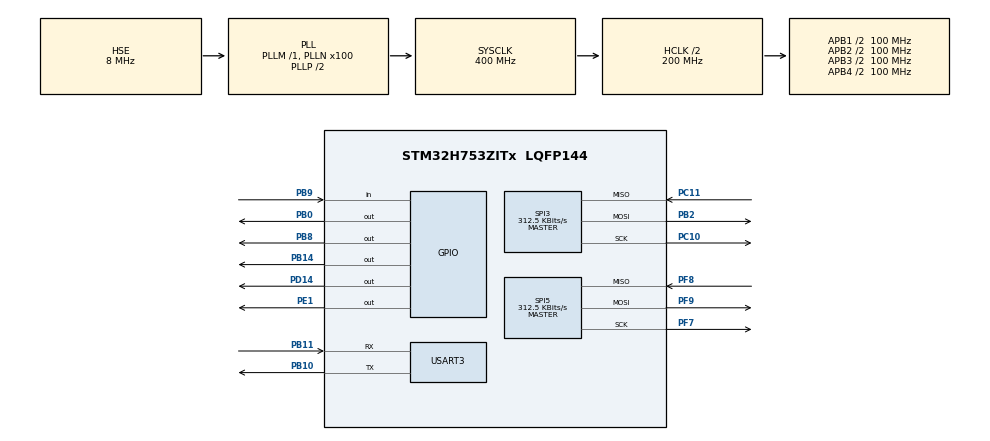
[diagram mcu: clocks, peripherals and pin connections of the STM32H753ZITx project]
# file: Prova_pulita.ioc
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CORTEX_M7.default_mode_Activation=1
FREERTOS.Tasks01=defaultTask,8,128,StartDefaultTask,Default,NULL,Dynamic,NULL,NULL
FREERTOS.configUSE_NEWLIB_REENTRANT=1
Mcu.Family=STM32H7
Mcu.Name=STM32H753ZITx
Mcu.Package=LQFP144
NVIC.FPU_IRQn=true\:5\:0\:false\:false\:true\:true\:true\:false\:true
NVIC.PriorityGroup=NVIC_PRIORITYGROUP_4
NVIC.SPI3_IRQn=true\:5\:0\:false\:false\:true\:true\:true\:true\:true
NVIC.SPI5_IRQn=true\:5\:0\:false\:false\:true\:true\:true\:true\:true
NVIC.TIM1_UP_IRQn=true\:5\:0\:true\:false\:true\:false\:false\:true\:true
NVIC.TimeBase=TIM1_UP_IRQn
NVIC.TimeBaseIP=TIM1
NVIC.USART3_IRQn=true\:5\:0\:false\:false\:true\:true\:true\:true\:true
PB0.Signal=GPIO_Output
PB10.Mode=Asynchronous
PB10.Signal=USART3_TX
PB11.Mode=Asynchronous
PB11.Signal=USART3_RX
PB14.Signal=GPIO_Output
PB2.Mode=Full_Duplex_Master
PB2.Signal=SPI3_MOSI
PB8.PinState=GPIO_PIN_SET
PB8.Signal=GPIO_Output
PB9.Signal=GPIO_Input
PC10.Mode=Full_Duplex_Master
PC10.Signal=SPI3_SCK
PC11.Mode=Full_Duplex_Master
PC11.Signal=SPI3_MISO
PD14.PinState=GPIO_PIN_SET
PD14.Signal=GPIO_Output
PE1.Signal=GPIO_Output
PF7.Mode=Full_Duplex_Master
PF7.Signal=SPI5_SCK
PF8.Mode=Full_Duplex_Master
PF8.Signal=SPI5_MISO
PF9.Mode=Full_Duplex_Master
PF9.Signal=SPI5_MOSI
PH0-OSC_IN\ (PH0).Mode=HSE-External-Oscillator
PH0-OSC_IN\ (PH0).Signal=RCC_OSC_IN
PH1-OSC_OUT\ (PH1).Mode=HSE-External-Oscillator
PH1-OSC_OUT\ (PH1).Signal=RCC_OSC_OUT
ProjectManager.HeapSize=0x200
ProjectManager.StackSize=0x400
ProjectManager.TargetToolchain=STM32CubeIDE
RCC.ADCFreq_Value=100000000
RCC.APB1Freq_Value=100000000
RCC.APB2Freq_Value=100000000
RCC.APB3Freq_Value=100000000
RCC.APB4Freq_Value=100000000
RCC.CortexFreq_Value=400000000
RCC.D1PPRE=RCC_APB3_DIV2
RCC.D2PPRE1=RCC_APB1_DIV2
RCC.D2PPRE2=RCC_APB2_DIV2
RCC.D3PPRE=RCC_APB4_DIV2
RCC.DIVM1=1
RCC.DIVM2=1
RCC.DIVM3=1
RCC.DIVN1=100
RCC.DIVN2=25
RCC.DIVN3=18
RCC.DIVP3=15
RCC.DIVQ1=4
RCC.DIVQ2=20
RCC.DIVQ3=15
RCC.HCLKFreq_Value=200000000
RCC.HPRE=RCC_HCLK_DIV2
RCC.HSE_VALUE=8000000
RCC.PLL2FRACN=0
RCC.PLL3FRACN=6144
RCC.PLLFRACN=0
RCC.PLLSourceVirtual=RCC_PLLSOURCE_HSE
RCC.SPI123CLockSelection=RCC_SPI123CLKSOURCE_PLL3
RCC.SYSCLKFreq_VALUE=400000000
RCC.SYSCLKSource=RCC_SYSCLKSOURCE_PLLCLK
RCC.Spi45ClockSelection=RCC_SPI45CLKSOURCE_PLL2
RCC.USBFreq_Value=200000000
SPI3.BaudRatePrescaler=SPI_BAUDRATEPRESCALER_32
SPI3.CLKPolarity=SPI_POLARITY_LOW
SPI3.CalculateBaudRate=312.5 KBits/s
SPI3.DataSize=SPI_DATASIZE_8BIT
SPI3.Direction=SPI_DIRECTION_2LINES
SPI3.Mode=SPI_MODE_MASTER
SPI3.VirtualType=VM_MASTER
SPI5.BaudRatePrescaler=SPI_BAUDRATEPRESCALER_32
SPI5.CalculateBaudRate=312.5 KBits/s
SPI5.DataSize=SPI_DATASIZE_8BIT
SPI5.Direction=SPI_DIRECTION_2LINES
SPI5.Mode=SPI_MODE_MASTER
SPI5.VirtualType=VM_MASTER
USART3.VirtualMode-Asynchronous=VM_ASYNC
VP_FREERTOS_VS_CMSIS_V2.Mode=CMSIS_V2
VP_MEMORYMAP_VS_MEMORYMAP.Mode=CurAppReg
VP_SYS_VS_tim1.Mode=TIM1
board=custom

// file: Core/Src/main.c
/* USER CODE BEGIN Header */
/**
  ******************************************************************************
  * @file           : main.c
  * @brief          : Main program body
  ******************************************************************************
  * @attention
  *
  * Copyright (c) 2025 STMicroelectronics.
  * All rights reserved.
  *
  * This software is licensed under terms that can be found in the LICENSE file
  * in the root directory of this software component.
  * If no LICENSE file comes with this software, it is provided AS-IS.
  *
  ******************************************************************************
  */
/* USER CODE END Header */
#include "main.h"
#include "cmsis_os.h"

/* USER CODE BEGIN Includes */
#include "cmsis_os2.h"
#include "stdlib.h"
#include "stdio.h"
#include "string.h"
#include "stdbool.h"
#include "Comunicazione_Stack.h"
#include "Comunicazione_UART.h"
#include "Comunicazione_ADC.h"
#include "global.h"
#include "funzioni_SOC.h"
#include "Tasks.h"
/* USER CODE END Includes */

SPI_HandleTypeDef hspi3;
SPI_HandleTypeDef hspi5;

UART_HandleTypeDef huart3;

/* Definitions for defaultTask */
osThreadId_t defaultTaskHandle;
const osThreadAttr_t defaultTask_attributes = {
  .name = "defaultTask",
  .stack_size = 128 * 4,
  .priority = (osPriority_t) osPriorityLow,
};

void SystemClock_Config(void);
static void MPU_Config(void);
static void MX_GPIO_Init(void);
static void MX_SPI3_Init(void);
static void MX_USART3_UART_Init(void);
static void MX_SPI5_Init(void);
void StartDefaultTask(void *argument);

int main(void)
{

  /* MPU Configuration--------------------------------------------------------*/
  MPU_Config();

  /* MCU Configuration--------------------------------------------------------*/

  /* Reset of all peripherals, Initializes the Flash interface and the Systick. */
  HAL_Init();

  /* Configure the system clock */
  SystemClock_Config();

  /* Initialize all configured peripherals */
  MX_GPIO_Init();
  MX_SPI3_Init();
  MX_USART3_UART_Init();
  MX_SPI5_Init();
  /* USER CODE BEGIN 2 */

  HAL_SPI_RegisterCallback(&hspi3, HAL_SPI_TX_COMPLETE_CB_ID, SPITXCompleteCallback);
  HAL_SPI_RegisterCallback(&hspi3, HAL_SPI_RX_COMPLETE_CB_ID, SPIRXCompleteCallback);
  HAL_UART_RegisterCallback(&huart3, HAL_UART_TX_COMPLETE_CB_ID, UARTCompleteCallback);

  /* USER CODE END 2 */

  /* Init scheduler */
  osKernelInitialize();

  /* Create the thread(s) */
  /* creation of defaultTask */
  defaultTaskHandle = osThreadNew(StartDefaultTask, NULL, &defaultTask_attributes);

  /* USER CODE BEGIN RTOS_THREADS */
  /* add threads, ... */
  StartTasks();
  /* USER CODE END RTOS_THREADS */

  /* Start scheduler */
  osKernelStart();

  /* We should never get here as control is now taken by the scheduler */

  /* Infinite loop */
  while (1)
  {

  }
}

void SystemClock_Config(void)
{
  RCC_OscInitTypeDef RCC_OscInitStruct = {0};
  RCC_ClkInitTypeDef RCC_ClkInitStruct = {0};

  /** Supply configuration update enable
  */
  HAL_PWREx_ConfigSupply(PWR_LDO_SUPPLY);

  /** Configure the main internal regulator output voltage
  */
  __HAL_PWR_VOLTAGESCALING_CONFIG(PWR_REGULATOR_VOLTAGE_SCALE1);

  while(!__HAL_PWR_GET_FLAG(PWR_FLAG_VOSRDY)) {}

  /** Initializes the RCC Oscillators according to the specified parameters
  * in the RCC_OscInitTypeDef structure.
  */
  RCC_OscInitStruct.OscillatorType = RCC_OSCILLATORTYPE_HSE;
  RCC_OscInitStruct.HSEState = RCC_HSE_ON;
  RCC_OscInitStruct.PLL.PLLState = RCC_PLL_ON;
  RCC_OscInitStruct.PLL.PLLSource = RCC_PLLSOURCE_HSE;
  RCC_OscInitStruct.PLL.PLLM = 1;
  RCC_OscInitStruct.PLL.PLLN = 100;
  RCC_OscInitStruct.PLL.PLLP = 2;
  RCC_OscInitStruct.PLL.PLLQ = 4;
  RCC_OscInitStruct.PLL.PLLR = 2;
  RCC_OscInitStruct.PLL.PLLRGE = RCC_PLL1VCIRANGE_3;
  RCC_OscInitStruct.PLL.PLLVCOSEL = RCC_PLL1VCOWIDE;
  RCC_OscInitStruct.PLL.PLLFRACN = 0;
  if (HAL_RCC_OscConfig(&RCC_OscInitStruct) != HAL_OK)
  {
    Error_Handler();
  }

  /** Initializes the CPU, AHB and APB buses clocks
  */
  RCC_ClkInitStruct.ClockType = RCC_CLOCKTYPE_HCLK|RCC_CLOCKTYPE_SYSCLK
                              |RCC_CLOCKTYPE_PCLK1|RCC_CLOCKTYPE_PCLK2
                              |RCC_CLOCKTYPE_D3PCLK1|RCC_CLOCKTYPE_D1PCLK1;
  RCC_ClkInitStruct.SYSCLKSource = RCC_SYSCLKSOURCE_PLLCLK;
  RCC_ClkInitStruct.SYSCLKDivider = RCC_SYSCLK_DIV1;
  RCC_ClkInitStruct.AHBCLKDivider = RCC_HCLK_DIV2;
  RCC_ClkInitStruct.APB3CLKDivider = RCC_APB3_DIV2;
  RCC_ClkInitStruct.APB1CLKDivider = RCC_APB1_DIV2;
  RCC_ClkInitStruct.APB2CLKDivider = RCC_APB2_DIV2;
  RCC_ClkInitStruct.APB4CLKDivider = RCC_APB4_DIV2;

  if (HAL_RCC_ClockConfig(&RCC_ClkInitStruct, FLASH_LATENCY_2) != HAL_OK)
  {
    Error_Handler();
  }
}

static void MX_SPI3_Init(void)
{

  /* SPI3 parameter configuration*/
  hspi3.Instance = SPI3;
  hspi3.Init.Mode = SPI_MODE_MASTER;
  hspi3.Init.Direction = SPI_DIRECTION_2LINES;
  hspi3.Init.DataSize = SPI_DATASIZE_8BIT;
  hspi3.Init.CLKPolarity = SPI_POLARITY_LOW;
  hspi3.Init.CLKPhase = SPI_PHASE_1EDGE;
  hspi3.Init.NSS = SPI_NSS_SOFT;
  hspi3.Init.BaudRatePrescaler = SPI_BAUDRATEPRESCALER_32;
  hspi3.Init.FirstBit = SPI_FIRSTBIT_MSB;
  hspi3.Init.TIMode = SPI_TIMODE_DISABLE;
  hspi3.Init.CRCCalculation = SPI_CRCCALCULATION_DISABLE;
  hspi3.Init.CRCPolynomial = 0x0;
  hspi3.Init.NSSPMode = SPI_NSS_PULSE_ENABLE;
  hspi3.Init.NSSPolarity = SPI_NSS_POLARITY_LOW;
  hspi3.Init.FifoThreshold = SPI_FIFO_THRESHOLD_01DATA;
  hspi3.Init.TxCRCInitializationPattern = SPI_CRC_INITIALIZATION_ALL_ZERO_PATTERN;
  hspi3.Init.RxCRCInitializationPattern = SPI_CRC_INITIALIZATION_ALL_ZERO_PATTERN;
  hspi3.Init.MasterSSIdleness = SPI_MASTER_SS_IDLENESS_00CYCLE;
  hspi3.Init.MasterInterDataIdleness = SPI_MASTER_INTERDATA_IDLENESS_00CYCLE;
  hspi3.Init.MasterReceiverAutoSusp = SPI_MASTER_RX_AUTOSUSP_DISABLE;
  hspi3.Init.MasterKeepIOState = SPI_MASTER_KEEP_IO_STATE_DISABLE;
  hspi3.Init.IOSwap = SPI_IO_SWAP_DISABLE;
  if (HAL_SPI_Init(&hspi3) != HAL_OK)
  {
    Error_Handler();
  }

}

static void MX_SPI5_Init(void)
{

  /* SPI5 parameter configuration*/
  hspi5.Instance = SPI5;
  hspi5.Init.Mode = SPI_MODE_MASTER;
  hspi5.Init.Direction = SPI_DIRECTION_2LINES;
  hspi5.Init.DataSize = SPI_DATASIZE_8BIT;
  hspi5.Init.CLKPolarity = SPI_POLARITY_LOW;
  hspi5.Init.CLKPhase = SPI_PHASE_1EDGE;
  hspi5.Init.NSS = SPI_NSS_SOFT;
  hspi5.Init.BaudRatePrescaler = SPI_BAUDRATEPRESCALER_32;
  hspi5.Init.FirstBit = SPI_FIRSTBIT_MSB;
  hspi5.Init.TIMode = SPI_TIMODE_DISABLE;
  hspi5.Init.CRCCalculation = SPI_CRCCALCULATION_DISABLE;
  hspi5.Init.CRCPolynomial = 0x0;
  hspi5.Init.NSSPMode = SPI_NSS_PULSE_ENABLE;
  hspi5.Init.NSSPolarity = SPI_NSS_POLARITY_LOW;
  hspi5.Init.FifoThreshold = SPI_FIFO_THRESHOLD_01DATA;
  hspi5.Init.TxCRCInitializationPattern = SPI_CRC_INITIALIZATION_ALL_ZERO_PATTERN;
  hspi5.Init.RxCRCInitializationPattern = SPI_CRC_INITIALIZATION_ALL_ZERO_PATTERN;
  hspi5.Init.MasterSSIdleness = SPI_MASTER_SS_IDLENESS_00CYCLE;
  hspi5.Init.MasterInterDataIdleness = SPI_MASTER_INTERDATA_IDLENESS_00CYCLE;
  hspi5.Init.MasterReceiverAutoSusp = SPI_MASTER_RX_AUTOSUSP_DISABLE;
  hspi5.Init.MasterKeepIOState = SPI_MASTER_KEEP_IO_STATE_DISABLE;
  hspi5.Init.IOSwap = SPI_IO_SWAP_DISABLE;
  if (HAL_SPI_Init(&hspi5) != HAL_OK)
  {
    Error_Handler();
  }

}

static void MX_USART3_UART_Init(void)
{

  huart3.Instance = USART3;
  huart3.Init.BaudRate = 115200;
  huart3.Init.WordLength = UART_WORDLENGTH_8B;
  huart3.Init.StopBits = UART_STOPBITS_1;
  huart3.Init.Parity = UART_PARITY_NONE;
  huart3.Init.Mode = UART_MODE_TX_RX;
  huart3.Init.HwFlowCtl = UART_HWCONTROL_NONE;
  huart3.Init.OverSampling = UART_OVERSAMPLING_16;
  huart3.Init.OneBitSampling = UART_ONE_BIT_SAMPLE_DISABLE;
  huart3.Init.ClockPrescaler = UART_PRESCALER_DIV1;
  huart3.AdvancedInit.AdvFeatureInit = UART_ADVFEATURE_NO_INIT;
  if (HAL_UART_Init(&huart3) != HAL_OK)
  {
    Error_Handler();
  }
  if (HAL_UARTEx_SetTxFifoThreshold(&huart3, UART_TXFIFO_THRESHOLD_1_8) != HAL_OK)
  {
    Error_Handler();
  }
  if (HAL_UARTEx_SetRxFifoThreshold(&huart3, UART_RXFIFO_THRESHOLD_1_8) != HAL_OK)
  {
    Error_Handler();
  }
  if (HAL_UARTEx_DisableFifoMode(&huart3) != HAL_OK)
  {
    Error_Handler();
  }

}

static void MX_GPIO_Init(void)
{
  GPIO_InitTypeDef GPIO_InitStruct = {0};

  /* GPIO Ports Clock Enable */
  __HAL_RCC_GPIOF_CLK_ENABLE();
  __HAL_RCC_GPIOH_CLK_ENABLE();
  __HAL_RCC_GPIOB_CLK_ENABLE();
  __HAL_RCC_GPIOD_CLK_ENABLE();
  __HAL_RCC_GPIOC_CLK_ENABLE();
  __HAL_RCC_GPIOE_CLK_ENABLE();

  /*Configure GPIO pin Output Level */
  HAL_GPIO_WritePin(GPIOB, GPIO_PIN_0|GPIO_PIN_14, GPIO_PIN_RESET);

  /*Configure GPIO pin Output Level */
  HAL_GPIO_WritePin(GPIOD, GPIO_PIN_14, GPIO_PIN_SET);

  /*Configure GPIO pin Output Level */
  HAL_GPIO_WritePin(GPIOB, GPIO_PIN_8, GPIO_PIN_SET);

  /*Configure GPIO pin Output Level */
  HAL_GPIO_WritePin(GPIOE, GPIO_PIN_1, GPIO_PIN_RESET);

  /*Configure GPIO pins : PB0 PB14 PB8 */
  GPIO_InitStruct.Pin = GPIO_PIN_0|GPIO_PIN_14|GPIO_PIN_8;
  GPIO_InitStruct.Mode = GPIO_MODE_OUTPUT_PP;
  GPIO_InitStruct.Pull = GPIO_NOPULL;
  GPIO_InitStruct.Speed = GPIO_SPEED_FREQ_LOW;
  HAL_GPIO_Init(GPIOB, &GPIO_InitStruct);

  /*Configure GPIO pin : PD14 */
  GPIO_InitStruct.Pin = GPIO_PIN_14;
  GPIO_InitStruct.Mode = GPIO_MODE_OUTPUT_PP;
  GPIO_InitStruct.Pull = GPIO_NOPULL;
  GPIO_InitStruct.Speed = GPIO_SPEED_FREQ_LOW;
  HAL_GPIO_Init(GPIOD, &GPIO_InitStruct);

  /*Configure GPIO pin : PB9 */
  GPIO_InitStruct.Pin = GPIO_PIN_9;
  GPIO_InitStruct.Mode = GPIO_MODE_INPUT;
  GPIO_InitStruct.Pull = GPIO_NOPULL;
  HAL_GPIO_Init(GPIOB, &GPIO_InitStruct);

  /*Configure GPIO pin : PE1 */
  GPIO_InitStruct.Pin = GPIO_PIN_1;
  GPIO_InitStruct.Mode = GPIO_MODE_OUTPUT_PP;
  GPIO_InitStruct.Pull = GPIO_NOPULL;
  GPIO_InitStruct.Speed = GPIO_SPEED_FREQ_LOW;
  HAL_GPIO_Init(GPIOE, &GPIO_InitStruct);

}

void StartDefaultTask(void *argument)
{
  for(;;)
  {
    osDelay(1);
  }
}

 /* MPU Configuration */

void MPU_Config(void)
{
  MPU_Region_InitTypeDef MPU_InitStruct = {0};

  /* Disables the MPU */
  HAL_MPU_Disable();

  /** Initializes and configures the Region and the memory to be protected
  */
  MPU_InitStruct.Enable = MPU_REGION_ENABLE;
  MPU_InitStruct.Number = MPU_REGION_NUMBER0;
  MPU_InitStruct.BaseAddress = 0x0;
  MPU_InitStruct.Size = MPU_REGION_SIZE_4GB;
  MPU_InitStruct.SubRegionDisable = 0x87;
  MPU_InitStruct.TypeExtField = MPU_TEX_LEVEL0;
  MPU_InitStruct.AccessPermission = MPU_REGION_NO_ACCESS;
  MPU_InitStruct.DisableExec = MPU_INSTRUCTION_ACCESS_DISABLE;
  MPU_InitStruct.IsShareable = MPU_ACCESS_SHAREABLE;
  MPU_InitStruct.IsCacheable = MPU_ACCESS_NOT_CACHEABLE;
  MPU_InitStruct.IsBufferable = MPU_ACCESS_NOT_BUFFERABLE;

  HAL_MPU_ConfigRegion(&MPU_InitStruct);
  /* Enables the MPU */
  HAL_MPU_Enable(MPU_PRIVILEGED_DEFAULT);

}

void HAL_TIM_PeriodElapsedCallback(TIM_HandleTypeDef *htim)
{
  if (htim->Instance == TIM1)
  {
    HAL_IncTick();
  }
}

void Error_Handler(void)
{
  __disable_irq();
  while (1)
  {
  }
}
